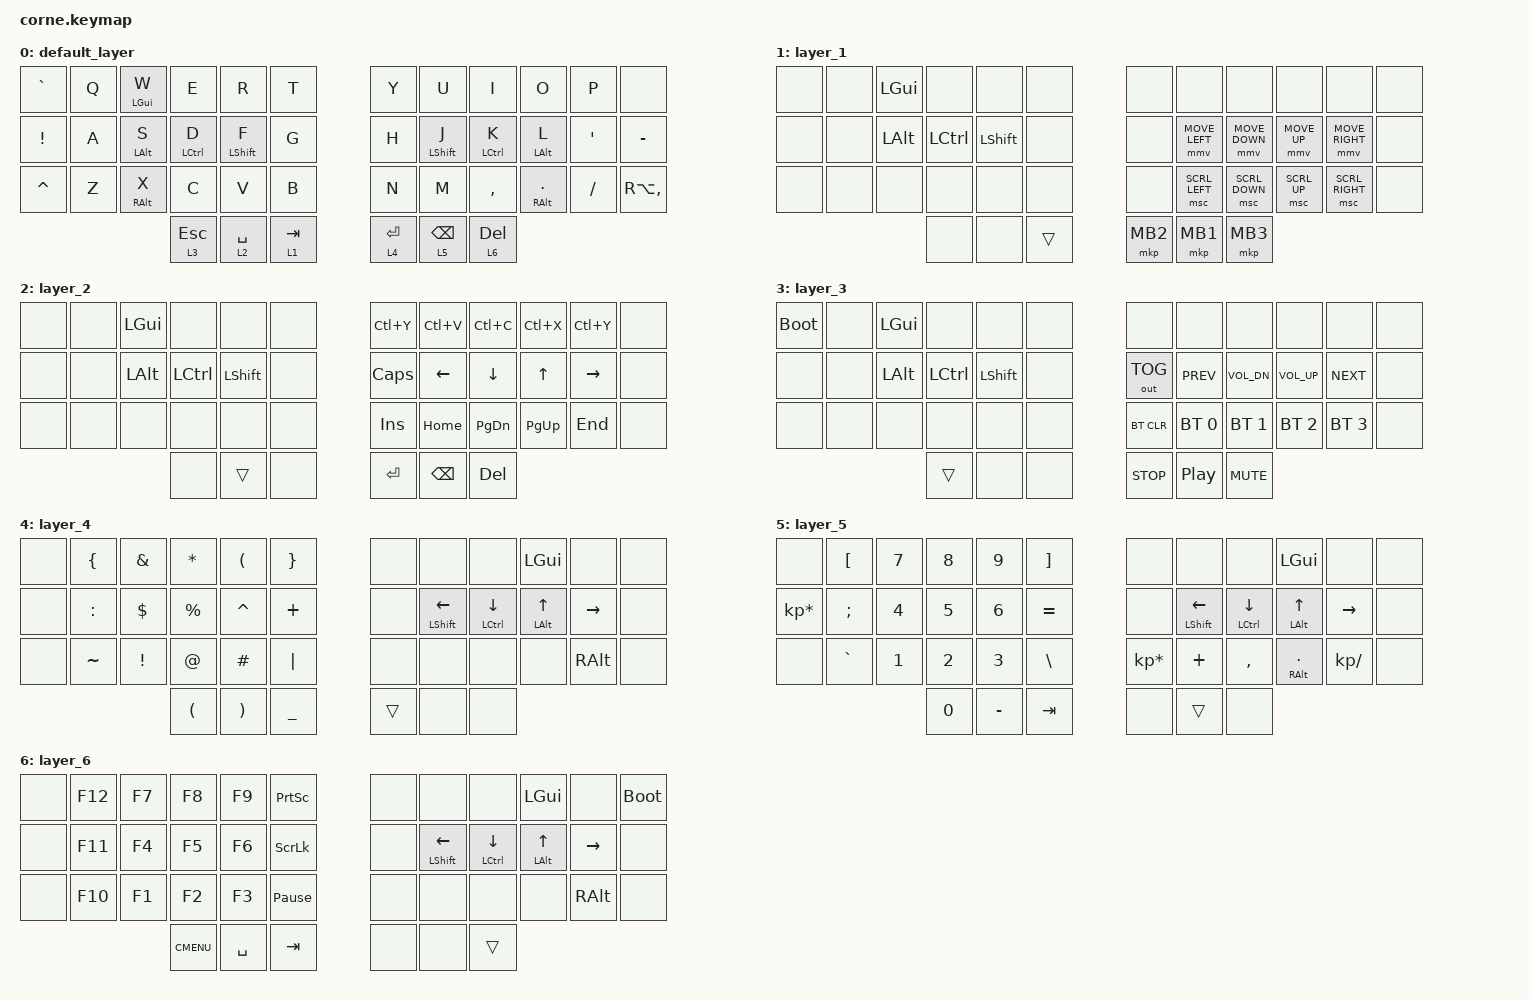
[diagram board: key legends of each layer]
/*
 * Copyright (c) 2020 The ZMK Contributors
 *
 * SPDX-License-Identifier: MIT
 */

#include <behaviors.dtsi>
#include <dt-bindings/zmk/keys.h>
#include <dt-bindings/zmk/bt.h>
#include <dt-bindings/zmk/outputs.h>

#define ZMK_POINTING_DEFAULT_MOVE_VAL 1500  // default: 600
#define ZMK_POINTING_DEFAULT_SCRL_VAL 20    // default: 10

#include <dt-bindings/zmk/pointing.h>


&lt {
    tapping-term-ms = <120>;
};



//                           1 {
//                        bindings = <
//   &none        &none           &none           &none           &none           &none           &none           &none           &none        &none        &none        &none        
//   &none        &none           &none           &none           &none           &none           &none           &none           &none        &none        &none        &none        
//   &none        &none           &none           &none           &none           &none           &none           &none           &none        &none        &none        &none        
//                                                &none           &none           &none           &none           &none           &none
//                        >;
//                };

/ {

    behaviors {
        hm: homerow_mods {
            compatible = "zmk,behavior-hold-tap";
            #binding-cells = <2>;
            tapping-term-ms = <120>;
            quick-tap-ms = <100>;
            flavor = "tap-preferred";
            bindings = <&kp>, <&kp>;
        };

        wn: LGUI_mod {
            compatible = "zmk,behavior-hold-tap";
            #binding-cells = <2>;
            tapping-term-ms = <200>;
            quick-tap-ms = <100>;
            flavor = "tap-preferred";
            bindings = <&kp>, <&kp>;
        };
    };

        keymap {
                compatible = "zmk,keymap";

                default_layer {
                        bindings = <
   &kp GRAVE    &kp Q           &wn LGUI W      &kp E           &kp R           &kp T           &kp Y           &kp U           &kp I           &kp O           &kp P           &none
   &kp EXCL     &kp A           &hm LALT S      &hm LCTRL D     &hm LSHFT F     &kp G           &kp H           &hm LSHFT J     &hm LCTRL K     &hm LALT L      &kp SQT         &kp MINUS
   &kp CARET    &kp Z           &hm RALT X      &kp C           &kp V           &kp B           &kp N           &kp M           &kp COMMA       &hm RALT DOT    &kp FSLH        &kp RA(COMMA)
                                                &lt 3 ESC       &lt 2 SPACE     &lt 1 TAB       &lt 4 RET       &lt 5 BSPC      &lt 6 DEL
                        >;
                };

//                                                                                              |
                           layer_1 {
                        bindings = <
   &none        &none           &kp LGUI        &none           &none           &none           &none           &none           &none          &none        &none               &none        
   &none        &none           &kp LALT        &kp LCTRL       &kp LSHFT       &none           &none           &mmv MOVE_LEFT  &mmv MOVE_DOWN &mmv MOVE_UP &mmv MOVE_RIGHT     &none        
   &none        &none           &none           &none           &none           &none           &none           &msc SCRL_LEFT  &msc SCRL_DOWN &msc SCRL_UP &msc SCRL_RIGHT     &none        
                                                &none           &none           &trans          &mkp MB2        &mkp MB1        &mkp MB3
                        >;
                };

//                                                                                              |
                           layer_2 {
                        bindings = <
   &none        &none           &kp LGUI        &none           &none           &none           &kp LC(Y)       &kp LC(V)       &kp LC(C)       &kp LC(X)       &kp LC(Y)       &none        
   &none        &none           &kp LALT        &kp LCTRL       &kp LSHFT       &none           &kp CAPS        &kp LEFT        &kp DOWN        &kp UP          &kp RIGHT       &none        
   &none        &none           &none           &none           &none           &none           &kp INS         &kp HOME        &kp PG_DN       &kp PG_UP       &kp END         &none        
                                                &none           &trans          &none           &kp RET         &kp BSPC        &kp DEL
                        >;
                };

//                                                                                              |
                           layer_3 {
                        bindings = <
   &bootloader  &none           &kp LGUI        &none           &none           &none           &none           &none           &none           &none           &none           &none        
   &none        &none           &kp LALT        &kp LCTRL       &kp LSHFT       &none           &out OUT_TOG    &kp C_PREV      &kp C_VOL_DN    &kp C_VOL_UP    &kp C_NEXT      &none        
   &none        &none           &none           &none           &none           &none           &bt BT_CLR      &bt BT_SEL 0    &bt BT_SEL 1    &bt BT_SEL 2    &bt BT_SEL 3    &none        
                                                &trans          &none           &none           &kp C_STOP      &kp C_PP        &kp C_MUTE
                        >;
                };

//                                                                                             |
                           layer_4 {
                        bindings = <
   &none        &kp LBRC         &kp AMPS       &kp ASTRK       &kp LPAR        &kp RBRC        &none           &none           &none           &kp LGUI     &none        &none        
   &none        &kp COLON        &kp DLLR       &kp PRCNT       &kp CARET       &kp PLUS        &none           &hm LSHFT LEFT  &hm LCTRL DOWN  &hm LALT UP  &kp RIGHT    &none        
   &none        &kp TILDE        &kp EXCL       &kp AT_SIGN     &kp HASH        &kp PIPE        &none           &none           &none           &none        &kp RALT     &none        
                                                &kp LPAR        &kp RPAR        &kp UNDER       &trans          &none           &none
                        >;
                };

//                                                                                              |
                           layer_5 {
                        bindings = <
    &none           &kp LBKT        &kp N7          &kp N8          &kp N9          &kp RBKT        &none           &none           &none           &kp LGUI     &none             &none
    &kp KP_ASTERISK &kp SEMI        &kp N4          &kp N5          &kp N6          &kp EQUAL       &none           &hm LSHFT LEFT  &hm LCTRL DOWN  &hm LALT UP  &kp RIGHT         &none        
    &none           &kp GRAVE       &kp N1          &kp N2          &kp N3          &kp BSLH        &kp KP_MULTIPLY &kp PLUS        &kp COMMA       &hm RALT DOT &kp KP_SLASH      &none        
                                                    &kp N0          &kp MINUS       &kp TAB         &none           &trans          &none
                        >;
                };

//                                                                                              |
                           layer_6 {
                        bindings = <
   &none        &kp F12         &kp F7          &kp F8          &kp F9          &kp PSCRN       &none           &none           &none          &kp LGUI     &none        &bootloader  
   &none        &kp F11         &kp F4          &kp F5          &kp F6          &kp SLCK        &none           &hm LSHFT LEFT  &hm LCTRL DOWN &hm LALT UP  &kp RIGHT    &none        
   &none        &kp F10         &kp F1          &kp F2          &kp F3          &kp PAUSE_BREAK &none           &none           &none          &none        &kp RALT     &none        
                                                &kp K_CMENU     &kp SPACE       &kp TAB         &none           &none           &trans
                        >;
                };                               

        };
};


